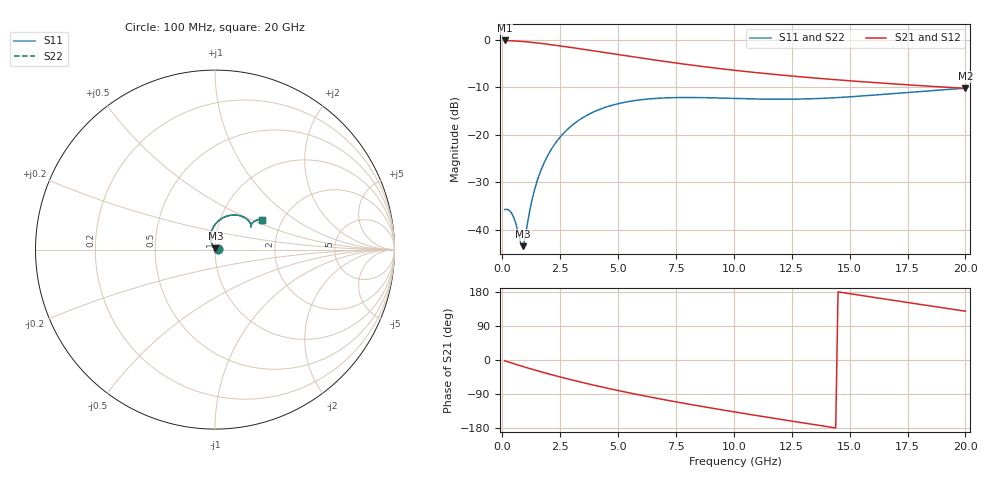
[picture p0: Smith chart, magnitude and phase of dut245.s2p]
! Touchstone file exported from HFSS 2023.1.0
!  File:  D:/Users/fzz/RDL_TSV/temp_RDL_TSV_245_1778759867.aedt
!  Generated:  8:09:51 %x4E0B%x5348  5%x6708 14, 2026
!  Design:  RDL_TSV
!  Project:  temp_RDL_TSV_245_1778759867
!  Setup:  Setup1
!  Solution:  Sweep
! Variables:
!  dtsv = 10.36um
!  hbump = 3um
!  htsv = 79.93um
!  ldown = 291.09um
!  lrdl = 612.11um
!  p = 40
!  p1 = 47.34um
!  rhole = 10um
!  subl = 3321.71um
!  t = 450um
!  tdown = 4.94um
!  trdl = 3.05um
!  viad = 10um
!  wdown = 14.07um
!  wrdl = 25.44um
!  xbump = 18um
# GHz S MA R 50.000000
! Terminal data exported
! Port[1] = TM1_1_T1
! Port[2] = TM1_4_T1
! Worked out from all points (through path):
!   200 points, 100 MHz to 20 GHz, reference 50 ohm
!   highest |S21| = -0.15 dB at 100 MHz (marker M1); lowest = -10.2 dB at 20 GHz (marker M2)
!   group delay of S21, straight-line fit = 30.4 ps
!   lowest |S11| = -43.4 dB at 900 MHz (marker M3), VSWR 1.01, Z = 50.3 + j0.621 ohm
!   |S11| at or under -10 dB: start of sweep to end of sweep
!   |S22| runs from -43.5 to -10.2 dB; largest |S21 - S12| = 4.8e-14
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0.1  0.01633 2.9  0.9832 -2.0  0.9832 -2.0  0.01633 2.9
! Gamma 0 0 0 0
! Port Impedance 50 0 50 0
0.3  0.01605 4.5  0.9793 -6.0  0.9793 -6.0  0.01605 4.5
0.4  0.01501 4.8  0.9766 -7.9  0.9766 -7.9  0.01501 4.8
0.6  0.01132 9.8  0.9703 -11.8  0.9703 -11.8  0.01132 9.8
0.8  0.007147 36.7  0.9625 -15.5  0.9625 -15.5  0.007149 36.6
0.9  0.006723 66.7  0.9581 -17.4  0.9581 -17.4  0.006719 66.5
1  0.008617 93.5  0.9534 -19.2  0.9534 -19.2  0.008605 93.4
1.2  0.01656 114.9  0.9431 -22.9  0.9431 -22.9  0.01654 114.8
1.3  0.0215 117.9  0.9376 -24.7  0.9376 -24.7  0.02147 117.9
1.5  0.03239 118.9  0.926 -28.2  0.926 -28.2  0.03235 118.9
1.8  0.0503 115.8  0.9073 -33.4  0.9073 -33.4  0.05025 115.8
2.1  0.06918 110.8  0.8878 -38.4  0.8878 -38.4  0.06911 110.8
2.5  0.09458 103.5  0.861 -44.8  0.861 -44.8  0.09449 103.5
3  0.125 94.4  0.8273 -52.5  0.8273 -52.5  0.1249 94.4
3.5  0.1525 85.9  0.7939 -59.9  0.7939 -59.9  0.1524 85.8
4.9  0.2094 65.9  0.7049 -79.2  0.7049 -79.2  0.2091 65.9
6.8  0.2428 47.4  0.6015 -102.6  0.6015 -102.6  0.2425 47.4
8.4  0.2465 38.1  0.5323 -120.3  0.5323 -120.3  0.2461 38.1
10.1  0.2409 33.2  0.475 -137.8  0.475 -137.8  0.2406 33.3
13.4  0.2396 33.7  0.3974 -169.9  0.3974 -169.9  0.2394 33.7
16.7  0.2693 35.7  0.3457 159.2  0.3457 159.2  0.2694 35.7
20  0.3088 32.8  0.3078 128.8  0.3078 128.8  0.3091 32.8
